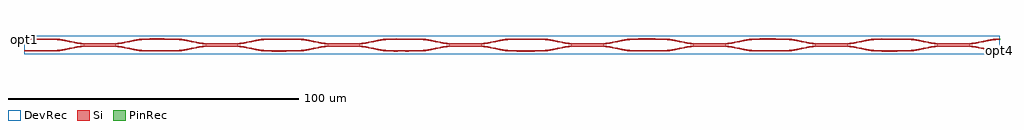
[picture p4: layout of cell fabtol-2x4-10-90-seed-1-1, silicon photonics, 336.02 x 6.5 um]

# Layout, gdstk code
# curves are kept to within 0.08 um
import gdstk
lib = gdstk.Library(unit=1e-6, precision=1e-09)
def R(c, l, rs):  # rectangles x0, y0, x1, y1
    for r in rs: c.add(gdstk.rectangle(r[:2], r[2:], *l))
def P(c, l, *ps):  # polygons
    for p in ps: c.add(gdstk.Polygon(p, *l))
Si = (1, 0)
PinRec = (1, 10)
DevRec = (68, 0)

layer_3_0_phase_sec_0_37 = lib.new_cell('layer-3_0_phase_sec_0$37')
P(layer_3_0_phase_sec_0_37, Si, [(2.747,-0.244),(0,-0.225),(0,0.225),(10,0.225),(10,-0.225)])

layer_0_0_phase_sec_0_37 = lib.new_cell('layer-0_0_phase_sec_0$37')
P(layer_0_0_phase_sec_0_37, Si, [(4.744,-0.237),(0,-0.225),(0,0.225),(10,0.225),(10,-0.225)])

layer_0_0_phase_sec_1_37 = lib.new_cell('layer-0_0_phase_sec_1$37')
P(layer_0_0_phase_sec_1_37, Si, [(3.105,-0.227),(0,-0.225),(0,0.225),(10,0.225),(10,-0.225)])

layer_2_0_phase_sec_1_37 = lib.new_cell('layer-2_0_phase_sec_1$37')
P(layer_2_0_phase_sec_1_37, Si, [(1.579,-0.25),(0,-0.225),(0,0.225),(10,0.225),(10,-0.225)])

dc_arm_down_37 = lib.new_cell('dc_arm_down$37')
R(dc_arm_down_37, Si, [(12,-0.55,20,-0.1)])
P(dc_arm_down_37, Si, [(32,-2.225),(30.861,-2.188),(29.344,-2.033),(22.966,-0.793),(21.481,-0.613),(20,-0.55),(20,-0.1),(21.139,-0.137),(22.656,-0.292),(29.034,-1.532),(30.519,-1.712),(32,-1.775)],
  [(0,-2.225),(0,-1.775),(1.481,-1.712),(2.966,-1.532),(9.344,-0.292),(10.861,-0.137),(12,-0.1),(12,-0.55),(10.519,-0.613),(9.034,-0.793),(2.656,-2.033),(1.139,-2.188)])

dc_arm_up_37 = lib.new_cell('dc_arm_up$37')
R(dc_arm_up_37, Si, [(12,0.1,20,0.55)])
P(dc_arm_up_37, Si, [(20,0.1),(20,0.55),(21.481,0.613),(22.966,0.793),(29.344,2.033),(30.861,2.188),(32,2.225),(32,1.775),(30.519,1.712),(29.034,1.532),(22.656,0.292),(21.139,0.137)],
  [(12,0.1),(10.861,0.137),(9.344,0.292),(2.966,1.532),(1.481,1.712),(0,1.775),(0,2.225),(1.139,2.188),(2.656,2.033),(9.034,0.793),(10.519,0.613),(12,0.55)])

dc_37 = lib.new_cell('dc$37')
dc_37.add(gdstk.Reference(dc_arm_down_37, (0,0)))
dc_37.add(gdstk.Reference(dc_arm_up_37, (0,0)))

layer_3_0_phase_sec_3_37 = lib.new_cell('layer-3_0_phase_sec_3$37')
P(layer_3_0_phase_sec_3_37, Si, [(2.676,-0.241),(0,-0.225),(0,0.225),(10,0.225),(10,-0.225)])

layer_0_0_phase_sec_2_37 = lib.new_cell('layer-0_0_phase_sec_2$37')
P(layer_0_0_phase_sec_2_37, Si, [(1.25,-0.242),(0,-0.225),(0,0.225),(10,0.225),(10,-0.225)])

layer_0_0_phase_sec_3_37 = lib.new_cell('layer-0_0_phase_sec_3$37')
P(layer_0_0_phase_sec_3_37, Si, [(3.631,-0.237),(0,-0.225),(0,0.225),(10,0.225),(10,-0.225)])

layer_1_0_phase_sec_0_37 = lib.new_cell('layer-1_0_phase_sec_0$37')
P(layer_1_0_phase_sec_0_37, Si, [(2.298,-0.227),(0,-0.225),(0,0.225),(10,0.225),(10,-0.225)])

layer_3_0_phase_sec_2_37 = lib.new_cell('layer-3_0_phase_sec_2$37')
P(layer_3_0_phase_sec_2_37, Si, [(1.373,-0.238),(0,-0.225),(0,0.225),(10,0.225),(10,-0.225)])

layer_1_0_phase_sec_1_37 = lib.new_cell('layer-1_0_phase_sec_1$37')
P(layer_1_0_phase_sec_1_37, Si, [(1.266,-0.251),(0,-0.225),(0,0.225),(10,0.225),(10,-0.225)])

layer_1_0_phase_sec_2_37 = lib.new_cell('layer-1_0_phase_sec_2$37')
P(layer_1_0_phase_sec_2_37, Si, [(2.217,-0.238),(0,-0.225),(0,0.225),(10,0.225),(10,-0.225)])

layer_1_0_phase_sec_3_37 = lib.new_cell('layer-1_0_phase_sec_3$37')
P(layer_1_0_phase_sec_3_37, Si, [(2.59,-0.24),(0,-0.225),(0,0.225),(10,0.225),(10,-0.225)])

layer_3_0_phase_sec_1_37 = lib.new_cell('layer-3_0_phase_sec_1$37')
P(layer_3_0_phase_sec_1_37, Si, [(2.952,-0.232),(0,-0.225),(0,0.225),(10,0.225),(10,-0.225)])

layer_2_0_phase_sec_0_37 = lib.new_cell('layer-2_0_phase_sec_0$37')
P(layer_2_0_phase_sec_0_37, Si, [(1.561,-0.228),(0,-0.225),(0,0.225),(10,0.225),(10,-0.225)])

layer_2_0_phase_sec_2_37 = lib.new_cell('layer-2_0_phase_sec_2$37')
P(layer_2_0_phase_sec_2_37, Si, [(1.478,-0.251),(0,-0.225),(0,0.225),(10,0.225),(10,-0.225)])

layer_2_0_phase_sec_3_37 = lib.new_cell('layer-2_0_phase_sec_3$37')
P(layer_2_0_phase_sec_3_37, Si, [(3.493,-0.227),(0,-0.225),(0,0.225),(10,0.225),(10,-0.225)])

fabtol_2x4_10_90_seed_1_ = lib.new_cell('fabtol-2x4-10-90-seed-1-1')
R(fabtol_2x4_10_90_seed_1_, DevRec, [(0,-1,336,5.502)])
fabtol_2x4_10_90_seed_1_.add(gdstk.FlexPath([(335.99,0.251),(336.01,0.251)], 0.45, ends="flush", simple_path=True, layer=1, datatype=10))  # PinRec
fabtol_2x4_10_90_seed_1_.add(gdstk.FlexPath([(335.99,4.251),(336.01,4.251)], 0.45, ends="flush", simple_path=True, layer=1, datatype=10))  # PinRec
fabtol_2x4_10_90_seed_1_.add(gdstk.FlexPath([(0.01,4.251),(-0.01,4.251)], 0.45, ends="flush", simple_path=True, layer=1, datatype=10))  # PinRec
fabtol_2x4_10_90_seed_1_.add(gdstk.Reference(layer_3_0_phase_sec_0_37, (252,4.251)))
fabtol_2x4_10_90_seed_1_.add(gdstk.Reference(layer_0_0_phase_sec_0_37, (0,4.251)))
fabtol_2x4_10_90_seed_1_.add(gdstk.Reference(layer_0_0_phase_sec_1_37, (0,0.251)))
fabtol_2x4_10_90_seed_1_.add(gdstk.Reference(layer_2_0_phase_sec_1_37, (168,0.251)))
fabtol_2x4_10_90_seed_1_.add(gdstk.Reference(dc_37, (10,2.251)))
fabtol_2x4_10_90_seed_1_.add(gdstk.Reference(dc_37, (52,2.251)))
fabtol_2x4_10_90_seed_1_.add(gdstk.Reference(dc_37, (94,2.251)))
fabtol_2x4_10_90_seed_1_.add(gdstk.Reference(dc_37, (136,2.251)))
fabtol_2x4_10_90_seed_1_.add(gdstk.Reference(dc_37, (178,2.251)))
fabtol_2x4_10_90_seed_1_.add(gdstk.Reference(dc_37, (220,2.251)))
fabtol_2x4_10_90_seed_1_.add(gdstk.Reference(dc_37, (262,2.251)))
fabtol_2x4_10_90_seed_1_.add(gdstk.Reference(dc_37, (304,2.251)))
fabtol_2x4_10_90_seed_1_.add(gdstk.Reference(layer_3_0_phase_sec_3_37, (294,0.251)))
fabtol_2x4_10_90_seed_1_.add(gdstk.Reference(layer_0_0_phase_sec_2_37, (42,4.251)))
fabtol_2x4_10_90_seed_1_.add(gdstk.Reference(layer_0_0_phase_sec_3_37, (42,0.251)))
fabtol_2x4_10_90_seed_1_.add(gdstk.Reference(layer_1_0_phase_sec_0_37, (84,4.251)))
fabtol_2x4_10_90_seed_1_.add(gdstk.Reference(layer_3_0_phase_sec_2_37, (294,4.251)))
fabtol_2x4_10_90_seed_1_.add(gdstk.Reference(layer_1_0_phase_sec_1_37, (84,0.251)))
fabtol_2x4_10_90_seed_1_.add(gdstk.Reference(layer_1_0_phase_sec_2_37, (126,4.251)))
fabtol_2x4_10_90_seed_1_.add(gdstk.Reference(layer_1_0_phase_sec_3_37, (126,0.251)))
fabtol_2x4_10_90_seed_1_.add(gdstk.Reference(layer_3_0_phase_sec_1_37, (252,0.251)))
fabtol_2x4_10_90_seed_1_.add(gdstk.Reference(layer_2_0_phase_sec_0_37, (168,4.251)))
fabtol_2x4_10_90_seed_1_.add(gdstk.Reference(layer_2_0_phase_sec_2_37, (210,4.251)))
fabtol_2x4_10_90_seed_1_.add(gdstk.Reference(layer_2_0_phase_sec_3_37, (210,0.251)))
fabtol_2x4_10_90_seed_1_.add(gdstk.Label('opt4', (336,0.251), layer=1, texttype=10))
fabtol_2x4_10_90_seed_1_.add(gdstk.Label('opt3', (336,4.251), layer=1, texttype=10))
fabtol_2x4_10_90_seed_1_.add(gdstk.Label('opt1', (0,4.251), layer=1, texttype=10))

lib.write_gds('fabtol-2x4-10-90-seed-1-1.gds')
